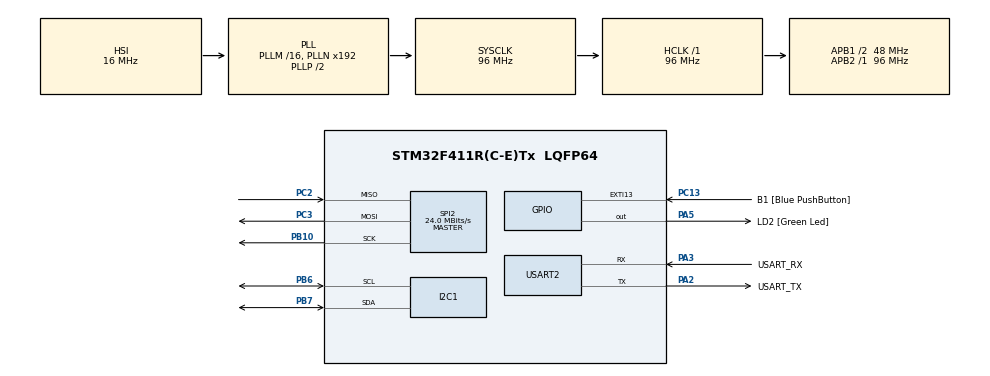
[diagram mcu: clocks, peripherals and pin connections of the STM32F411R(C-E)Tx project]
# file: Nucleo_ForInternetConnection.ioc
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Mcu.Family=STM32F4
PC3.Mode=Full_Duplex_Master
PC15-OSC32_OUT.Mode=LSE-External-Oscillator
RCC.CortexFreq_Value=96000000
SPI2.VirtualType=VM_MASTER
PB10.Mode=Full_Duplex_Master
PC13-ANTI_TAMP.GPIO_Label=B1 [Blue PushButton]
PA14.GPIO_Label=TCK
PC2.Signal=SPI2_MISO
PC2.Mode=Full_Duplex_Master
RCC.APB1CLKDivider=RCC_HCLK_DIV2
PC14-OSC32_IN.Signal=RCC_OSC32_IN
RCC.SYSCLKSource=RCC_SYSCLKSOURCE_PLLCLK
ProjectManager.StackSize=0x400
PA13.Signal=SYS_JTMS-SWDIO
PA3.Mode=Asynchronous
ProjectManager.TargetToolchain=STM32CubeIDE
RCC.HCLKFreq_Value=96000000
RCC.APB2TimFreq_Value=96000000
PB6.Signal=I2C1_SCL
PB6.Mode=I2C
PC3.Signal=SPI2_MOSI
PC15-OSC32_OUT.Signal=RCC_OSC32_OUT
RCC.AHBFreq_Value=96000000
PB10.Signal=SPI2_SCK
PA5.Signal=GPIO_Output
RCC.HSE_VALUE=8000000
PB3.Mode=Trace_Asynchronous_SW
board=NUCLEO-F411RE
PC13-ANTI_TAMP.Signal=GPXTI13
RCC.VCOOutputFreq_Value=192000000
NVIC.TIM3_IRQn=true\:0\:0\:false\:false\:true\:true\:true
RCC.APB2Freq_Value=96000000
PC14-OSC32_IN.Mode=LSE-External-Oscillator
PA14.Mode=Trace_Asynchronous_SW
SPI2.CalculateBaudRate=24.0 MBits/s
PB7.Signal=I2C1_SDA
PA13.Mode=Trace_Asynchronous_SW
Mcu.Name=STM32F411R(C-E)Tx
PA2.Signal=USART2_TX
PA13.GPIO_Label=TMS
RCC.FLatency-AdvancedSettings=FLASH_LATENCY_3
RCC.48MHZClocksFreq_Value=48000000
PB3.Signal=SYS_JTDO-SWO
RCC.SYSCLKFreq_VALUE=96000000
Mcu.Package=LQFP64
SPI2.Mode=SPI_MODE_MASTER
PA5.GPIO_Label=LD2 [Green Led]
USART2.VirtualMode=VM_ASYNC
PC13-ANTI_TAMP.GPIO_ModeDefaultEXTI=GPIO_MODE_IT_FALLING
PA2.GPIO_Label=USART_TX
PB7.Mode=I2C
PA14.Signal=SYS_JTCK-SWCLK
ProjectManager.HeapSize=0x200
RCC.HSI_VALUE=16000000
NVIC.PriorityGroup=NVIC_PRIORITYGROUP_0
RCC.APB1TimFreq_Value=96000000
PA2.Mode=Asynchronous
SPI2.Direction=SPI_DIRECTION_2LINES
RCC.APB1Freq_Value=48000000
VP_TIM3_VS_ClockSourceINT.Mode=Internal
PA3.GPIO_Label=USART_RX
PA3.Signal=USART2_RX
PB3.GPIO_Label=SWO

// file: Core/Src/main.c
/* USER CODE BEGIN Header */
/**
  ******************************************************************************
  * @file           : main.c
  * @brief          : Main program body
  ******************************************************************************
  * @attention
  *
  * <h2><center>&copy; Copyright (c) 2021 STMicroelectronics.
  * All rights reserved.</center></h2>
  *
  * This software component is licensed by ST under BSD 3-Clause license,
  * the "License"; You may not use this file except in compliance with the
  * License. You may obtain a copy of the License at:
  *                        opensource.org/licenses/BSD-3-Clause
  *
  ******************************************************************************
  */
/* USER CODE END Header */
#include "main.h"
#include "i2c.h"
#include "spi.h"
#include "tim.h"
#include "usart.h"
#include "gpio.h"

/* USER CODE BEGIN Includes */
#include "stdio.h"
/* USER CODE END Includes */

/* USER CODE BEGIN PD */
uint8_t i2c_current_ptr;
uint8_t i2c_data_to_send;
uint8_t i2c_current_buffer[256];

uint8_t str_hour_buffer[256];
uint8_t str_date_buffer[256];
/* USER CODE END PD */

void SystemClock_Config(void);

/* USER CODE BEGIN 0 */
int __io_putchar(int ch)
 {
	ITM_SendChar(ch);
	return (ch);
}

int _write(int file, char *ptr, int len)
 {
	int DataIdx;
	for (DataIdx = 0; DataIdx < len; DataIdx++) {
		__io_putchar(*ptr++);
	}
	return len;
}

void HAL_SYSTICK_Callback(void){

}
/* USER CODE END 0 */

int main(void)
{
  /* USER CODE BEGIN 1 */
	uint8_t tmp_val;
  /* USER CODE END 1 */

  /* MCU Configuration--------------------------------------------------------*/

  /* Reset of all peripherals, Initializes the Flash interface and the Systick. */
  HAL_Init();

  /* Configure the system clock */
  SystemClock_Config();

  /* Initialize all configured peripherals */
  MX_GPIO_Init();
  MX_USART2_UART_Init();
  MX_I2C1_Init();
  MX_TIM3_Init();
  MX_SPI2_Init();
  /* USER CODE BEGIN 2 */
	// Timer3 start
	HAL_TIM_Base_Start(&htim3);
  /* USER CODE END 2 */

  /* Infinite loop */
	while (1) {

    /* USER CODE BEGIN 3 */
		// Example usage of debugging semihosting, only for standalone STM32 programmer
		// printf("Test debugging via semihosting\n\n");
		//  HAL_GPIO_TogglePin(GPIOA, GPIO_PIN_5);
		// i2c_data_to_send = 1;
		// i2c_current_buffer[0] = 7;
		// HAL_I2C_Master_Transmit(&hi2c1, I2C_EXPANDER_LED_WRITE_ADDR, i2c_current_buffer, 1, HAL_MAX_DELAY);
		i2c_current_buffer[0] = 'a';
		HAL_UART_Transmit(&huart2,i2c_current_buffer, 1, HAL_MAX_DELAY);
		HAL_Delay(30);
	}
  /* USER CODE END 3 */
}

void SystemClock_Config(void)
{
  RCC_OscInitTypeDef RCC_OscInitStruct = {0};
  RCC_ClkInitTypeDef RCC_ClkInitStruct = {0};

  /** Configure the main internal regulator output voltage
  */
  __HAL_RCC_PWR_CLK_ENABLE();
  __HAL_PWR_VOLTAGESCALING_CONFIG(PWR_REGULATOR_VOLTAGE_SCALE1);
  /** Initializes the RCC Oscillators according to the specified parameters
  * in the RCC_OscInitTypeDef structure.
  */
  RCC_OscInitStruct.OscillatorType = RCC_OSCILLATORTYPE_HSI;
  RCC_OscInitStruct.HSIState = RCC_HSI_ON;
  RCC_OscInitStruct.HSICalibrationValue = RCC_HSICALIBRATION_DEFAULT;
  RCC_OscInitStruct.PLL.PLLState = RCC_PLL_ON;
  RCC_OscInitStruct.PLL.PLLSource = RCC_PLLSOURCE_HSI;
  RCC_OscInitStruct.PLL.PLLM = 16;
  RCC_OscInitStruct.PLL.PLLN = 192;
  RCC_OscInitStruct.PLL.PLLP = RCC_PLLP_DIV2;
  RCC_OscInitStruct.PLL.PLLQ = 4;
  if (HAL_RCC_OscConfig(&RCC_OscInitStruct) != HAL_OK)
  {
    Error_Handler();
  }
  /** Initializes the CPU, AHB and APB buses clocks
  */
  RCC_ClkInitStruct.ClockType = RCC_CLOCKTYPE_HCLK|RCC_CLOCKTYPE_SYSCLK
                              |RCC_CLOCKTYPE_PCLK1|RCC_CLOCKTYPE_PCLK2;
  RCC_ClkInitStruct.SYSCLKSource = RCC_SYSCLKSOURCE_PLLCLK;
  RCC_ClkInitStruct.AHBCLKDivider = RCC_SYSCLK_DIV1;
  RCC_ClkInitStruct.APB1CLKDivider = RCC_HCLK_DIV2;
  RCC_ClkInitStruct.APB2CLKDivider = RCC_HCLK_DIV1;

  if (HAL_RCC_ClockConfig(&RCC_ClkInitStruct, FLASH_LATENCY_3) != HAL_OK)
  {
    Error_Handler();
  }
}

void Error_Handler(void)
{
  __disable_irq();
  while (1)
  {
  }
}

/************************ (C) COPYRIGHT STMicroelectronics *****END OF FILE****/
